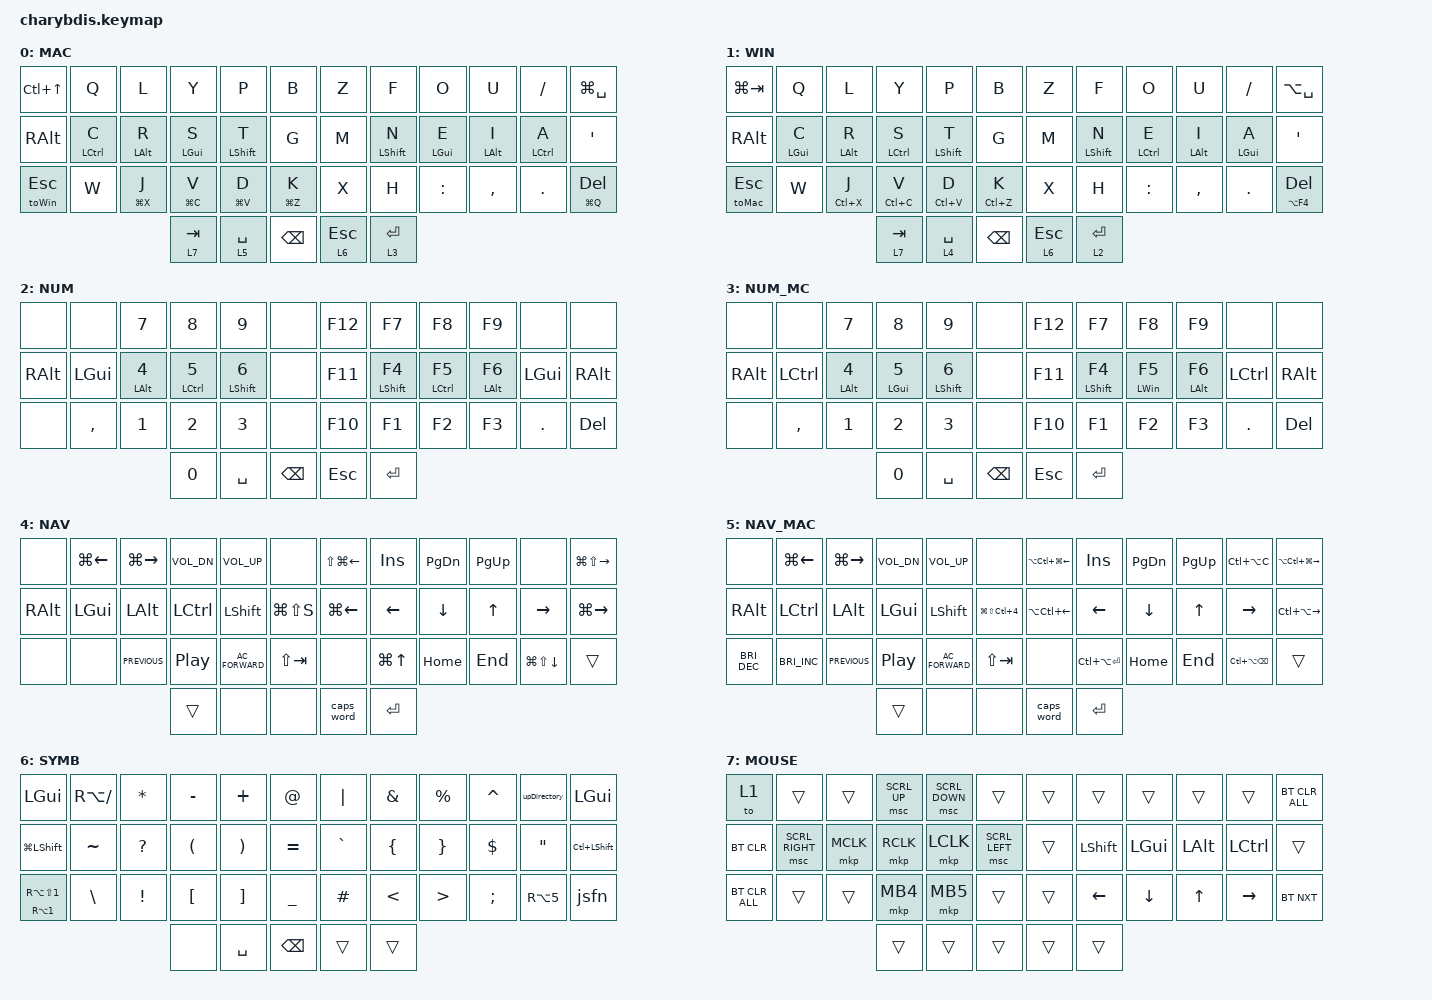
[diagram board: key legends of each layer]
#include <dt-bindings/zmk/mouse.h>
#include <behaviors/mouse_keys.dtsi>
#include <behaviors.dtsi>
#include <dt-bindings/zmk/bt.h>
#include <dt-bindings/zmk/keys.h>
#include <dt-bindings/zmk/pointing.h>

/* Key positions (42-key split):
 *  0  1  2  3  4  5 |  6  7  8  9 10 11
 * 12 13 14 15 16 17 | 18 19 20 21 22 23
 * 24 25 26 27 28 29 | 30 31 32 33 34 35
 *          36 37 38 | 39 40 
 */
#define KEYS_L  0  1  2  3  4  5 \
               12 13 14 15 16 17 \
               24 25 26 27 28 29
#define KEYS_R  6  7  8  9 10 11 \
               18 19 20 21 22 23 \
               30 31 32 33 34 35
#define THUMBS 36 37 38 39 40

/ {

 macros {
        jsfn: jsfn {
            compatible = "zmk,behavior-macro";
            #binding-cells = <0>;
            bindings = <&kp EQUAL &kp GREATER_THAN &kp SPACE &kp LEFT_BRACE &kp RIGHT_BRACE &kp LEFT>;
        };

        upDirectory: upDirectory {
            compatible = "zmk,behavior-macro";
            #binding-cells = <0>;
            bindings = <&kp PERIOD &kp PERIOD &kp SLASH>;
        };

        toWin: toWin {
            compatible = "zmk,behavior-macro";
            #binding-cells = <0>;
            bindings = <&bt BT_SEL 1 &to 1>;
        };

        toMac: toMac {
            compatible = "zmk,behavior-macro";
            #binding-cells = <0>;
            bindings = <&bt BT_SEL 0 &to 0>;
        };
    };

    behaviors {
        /* ---------- Timeless Homerow Mods (urob method) ----------
         *
         * hml = left-hand HRMs  → fires hold only when opposite (right) hand
         *       keys or any thumb key is involved.
         * hmr = right-hand HRMs → fires hold only when opposite (left) hand
         *       keys or any thumb key is involved.
         *
         * Tuning reference: https://github.com/urob/zmk-config#timeless-homerow-mods
         *   tapping-term-ms    280  – large so timer rarely matters
         *   quick-tap-ms       175  – enables reliable double-tap repeat
         *   require-prior-idle 150  – eliminates delay after normal typing
         *                            (rule of thumb: 10500 / WPM)
         */

        hml: hml {
            compatible = "zmk,behavior-hold-tap";
            #binding-cells = <2>;
            bindings = <&kp>, <&kp>;
            flavor = "balanced";
            tapping-term-ms = <280>;
            quick-tap-ms = <175>;
            require-prior-idle-ms = <150>;
            hold-trigger-key-positions = <KEYS_R THUMBS>;
            hold-trigger-on-release;
        };

        hmr: hmr {
            compatible = "zmk,behavior-hold-tap";
            #binding-cells = <2>;
            bindings = <&kp>, <&kp>;
            flavor = "balanced";
            tapping-term-ms = <280>;
            quick-tap-ms = <175>;
            require-prior-idle-ms = <150>;
            hold-trigger-key-positions = <KEYS_L THUMBS>;
            hold-trigger-on-release;
        };

        /* ---------- Safe layer toggles ---------- */

        to_fast: to_fast {
            compatible = "zmk,behavior-hold-tap";
            #binding-cells = <2>;
            bindings = <&mo>, <&kp>;
            tapping-term-ms = <260>;
            quick-tap-ms = <175>;       /* was missing – enables double-tap on thumb keys */
            flavor = "tap-preferred";
            hold-trigger-on-release;
        };

        mt_fast: mt_fast {
            compatible = "zmk,behavior-hold-tap";
            #binding-cells = <2>;
            bindings = <&kp>, <&kp>;
            tapping-term-ms = <175>;
            quick-tap-ms = <130>;
            require-prior-idle-ms = <125>;
            flavor = "balanced";
            hold-trigger-on-release;
        };

        toMacModTap: toMacModTap {
            compatible = "zmk,behavior-hold-tap";
            bindings = <&toMac>, <&kp>;
            #binding-cells = <2>;
            tapping-term-ms = <300>;
            flavor = "tap-preferred";
        };

        toWinModTap: toWinModTap {
            compatible = "zmk,behavior-hold-tap";
            bindings = <&toWin>, <&kp>;
            #binding-cells = <2>;
            tapping-term-ms = <300>;
            flavor = "tap-preferred";
        };
    };


    keymap {
        compatible = "zmk,keymap";

        MAC {
            display-name = "MAC";
            bindings = <
&kp LC(UP_ARROW)       &kp Q                &kp L             &kp Y             &kp P              &kp B               &kp Z       &kp F              &kp O             &kp U             &kp SLASH              &kp LG(SPACE)
&kp RIGHT_ALT          &hml LEFT_CONTROL C  &hml LEFT_ALT R   &hml LEFT_GUI S   &hml LEFT_SHIFT T  &kp G               &kp M       &hmr LEFT_SHIFT N  &hmr LEFT_GUI E   &hmr LEFT_ALT I   &hmr LEFT_CONTROL A    &kp SINGLE_QUOTE
&toWinModTap 0 ESCAPE  &kp W                &mt_fast LG(X) J  &mt_fast LG(C) V  &mt_fast LG(V) D   &mt_fast LG(Z) K    &kp X       &kp H              &kp COLON         &kp COMMA         &kp PERIOD             &mt LG(Q) DELETE
                                                              &to_fast 7 TAB    &to_fast 5 SPACE   &kp BACKSPACE       &to_fast 6 ESCAPE  &to_fast 3 ENTER 
            >;
        };

        WIN {
            display-name = "WIN";
            bindings = <
&kp LG(TAB)            &kp Q                &kp L             &kp Y                  &kp P              &kp B               &kp Z       &kp F              &kp O                  &kp U             &kp SLASH          &kp LA(SPACE)
&kp RIGHT_ALT          &hml LEFT_GUI C      &hml LEFT_ALT R   &hml LEFT_CONTROL S    &hml LEFT_SHIFT T  &kp G               &kp M       &hmr LEFT_SHIFT N  &hmr LEFT_CONTROL E    &hmr LEFT_ALT I   &hmr LEFT_GUI A    &kp SINGLE_QUOTE
&toMacModTap 0 ESCAPE  &kp W                &mt_fast LC(X) J  &mt_fast LC(C) V       &mt_fast LC(V) D   &mt_fast LC(Z) K    &kp X       &kp H              &kp COLON              &kp COMMA         &kp PERIOD         &mt LA(F4) DELETE
                                                              &to_fast 7 TAB         &to_fast 4 SPACE   &kp BACKSPACE       &to_fast 6 ESCAPE  &to_fast 2 ENTER 
            >;
        };

        NUMBERS {
            display-name = "NUM";
            bindings = <
&none     &none              &kp NUMBER_7              &kp NUMBER_8                  &kp NUMBER_9               &none            &kp F12      &kp F7              &kp F8                 &kp F9            &none         &none
&kp RALT  &kp LEFT_GUI       &hml LEFT_ALT NUMBER_4    &hml LEFT_CONTROL NUMBER_5    &hml LEFT_SHIFT NUMBER_6   &none            &kp F11      &hmr LEFT_SHIFT F4  &hmr LEFT_CONTROL F5   &hmr LEFT_ALT F6  &kp LEFT_GUI  &kp RALT
&none     &kp COMMA          &kp NUMBER_1              &kp NUMBER_2                  &kp NUMBER_3               &none            &kp F10      &kp F1              &kp F2                 &kp F3            &kp DOT       &kp DELETE
                                                       &kp NUMBER_0                  &kp SPACE                  &kp BACKSPACE    &kp ESCAPE   &kp ENTER           
            >;
        };

        NUM_MAC {
            display-name = "NUM_MC";
            bindings = <
&none     &none               &kp NUMBER_7              &kp NUMBER_8              &kp NUMBER_9               &none            &kp F12     &kp F7              &kp F8             &kp F9            &none             &none
&kp RALT  &kp LEFT_CONTROL    &hml LEFT_ALT NUMBER_4    &hml LEFT_GUI NUMBER_5    &hml LEFT_SHIFT NUMBER_6   &none            &kp F11     &hmr LEFT_SHIFT F4  &hmr LEFT_WIN F5   &hmr LEFT_ALT F6  &kp LEFT_CONTROL  &kp RALT
&none     &kp COMMA           &kp NUMBER_1              &kp NUMBER_2              &kp NUMBER_3               &none            &kp F10     &kp F1              &kp F2             &kp F3            &kp DOT           &kp DELETE
                                                        &kp NUMBER_0              &kp SPACE                  &kp BACKSPACE    &kp ESCAPE  &kp ENTER            
            >;
        };

        NAVIGATION {
            display-name = "NAV";
            bindings = <
&none     &kp LG(LEFT_ARROW)  &kp LG(RIGHT_ARROW)  &kp C_VOL_DN      &kp C_VOLUME_UP   &none            &kp LS(LG(LEFT))    &kp INSERT        &kp PAGE_DOWN   &kp PAGE_UP   &none                   &kp LG(LS(RIGHT))
&kp RALT  &kp LEFT_GUI        &kp LALT             &kp LCTRL         &kp LSHFT         &kp LG(LS(S))    &kp LG(LEFT_ARROW)  &kp LEFT_ARROW    &kp DOWN_ARROW  &kp UP_ARROW  &kp RIGHT               &kp LG(RIGHT)
&none     &none               &kp C_PREVIOUS       &kp C_PLAY_PAUSE  &kp C_AC_FORWARD  &kp LS(TAB)      &none               &kp LG(UP_ARROW)  &kp HOME        &kp END       &kp LG(LS(DOWN_ARROW))  &trans
                                                   &trans            &none             &none            &caps_word          &kp ENTER      
            >;
        };

        NAV_MAC {
            display-name = "NAV_MAC";
            bindings = <
&none                 &kp LG(LEFT_ARROW)    &kp LG(RIGHT_ARROW)  &kp C_VOL_DN      &kp C_VOLUME_UP   &none                       &kp LA(LC(LG(LEFT)))    &kp INSERT         &kp PAGE_DOWN   &kp PAGE_UP   &kp LC(LA(C))          &kp LA(LC(LG(RIGHT)))
&kp RALT              &kp LEFT_CONTROL      &kp LALT             &kp LEFT_GUI      &kp LSHFT         &kp LG(LS(LC(NUMBER_4)))    &kp LA(LC(LEFT_ARROW))  &kp LEFT_ARROW     &kp DOWN_ARROW  &kp UP_ARROW  &kp RIGHT              &kp LC(LA(RIGHT))
&kp C_BRIGHTNESS_DEC  &kp C_BRIGHTNESS_INC  &kp C_PREVIOUS       &kp C_PLAY_PAUSE  &kp C_AC_FORWARD  &kp LS(TAB)                 &none                   &kp LC(LA(ENTER))  &kp HOME        &kp END       &kp LC(LA(BACKSPACE))  &trans
                                                                 &trans            &none             &none                       &caps_word              &kp ENTER        
            >;
        };

        SYMBOLS {
            display-name = "SYMB";
            bindings = <
&kp LEFT_GUI                       &kp RA(SLASH)  &kp ASTRK        &kp MINUS             &kp PLUS               &kp AT            &kp PIPE   &kp AMPERSAND   &kp PERCENT       &kp CARET   &upDirectory       &kp LEFT_GUI
&kp LG(LSHFT)                      &kp TILDE      &kp QUESTION     &kp LEFT_PARENTHESIS  &kp RIGHT_PARENTHESIS  &kp EQUAL         &kp GRAVE  &kp LEFT_BRACE  &kp RIGHT_BRACE   &kp DOLLAR  &kp DOUBLE_QUOTES  &kp LC(LEFT_SHIFT)
&mt RA(NUMBER_1) RA(LS(NUMBER_1))  &kp BACKSLASH  &kp EXCLAMATION  &kp LEFT_BRACKET      &kp RIGHT_BRACKET      &kp UNDERSCORE    &kp HASH   &kp LESS_THAN   &kp GREATER_THAN  &kp SEMI    &kp RA(N5)         &jsfn
                                                                   &none                 &kp SPACE              &kp BACKSPACE     &trans     &trans      
            >;
        };

        MOUSE {
            display-name = "MOUSE";
            bindings = <
&to 1   &trans           &trans     &msc SCRL_UP  &msc SCRL_DOWN  &trans            &trans  &trans          &trans          &trans        &trans            &bt BT_CLR_ALL
&bt BT_CLR &msc SCRL_RIGHT  &mkp MCLK  &mkp RCLK     &mkp LCLK       &msc SCRL_LEFT    &trans  &kp LSHFT       &kp LEFT_GUI    &kp LALT      &kp LEFT_CONTROL  &trans
&bt BT_CLR_ALL  &trans           &trans     &mkp MB4      &mkp MB5        &trans            &trans  &kp LEFT_ARROW  &kp DOWN_ARROW  &kp UP_ARROW  &kp RIGHT_ARROW   &bt BT_NXT
                                    &trans        &trans          &trans            &trans  &trans
            >;
        };
    };
};
